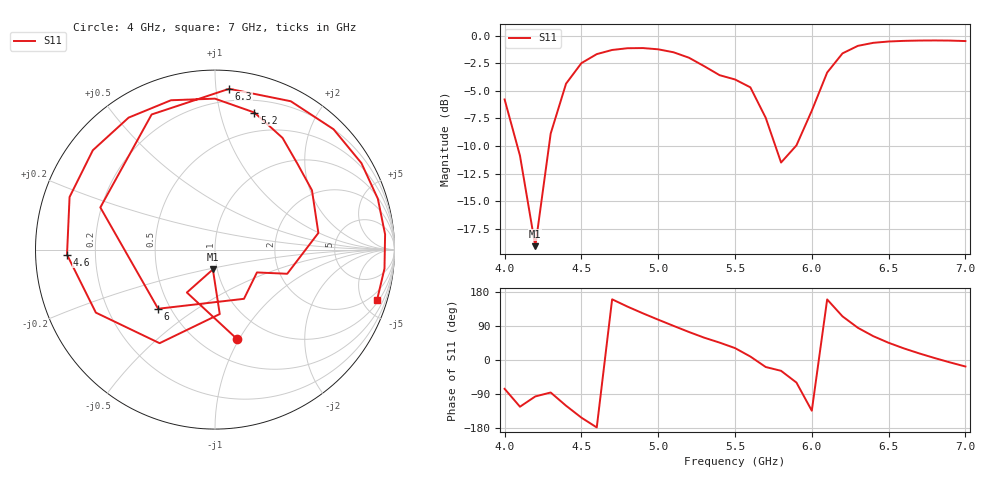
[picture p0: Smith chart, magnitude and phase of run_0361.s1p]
! Touchstone file exported from HFSS 2024.2.0
!  File:  C:/Users/wsak9/Desktop/Sim Fast/Widenad Patch/WP_AI_V1_sweep.aedt
!  Generated:  06:21:50 AM Oct 14, 2026
!  Design:  A1_model
!  Project:  WP_AI_V1_sweep
!  Setup:  Setup1
!  Solution:  Sweep
! Variables:
!  Air_gap = 2.06mm
!  Curve_Amp1 = 3.47
!  Curve_len1 = 1
!  Curve_pos = 12.775mm
!  Extra = 1.14mm
!  H_sub = 0.79mm
!  L_Patch = 21.55mm
!  L_Patch1 = 16.23mm
!  Sx = 0.58mm
!  Sy = 0.3mm
!  WS = 1.01mm
!  W_Patch = 21.28mm
!  W_Patch1 = 15.09mm
!Data is not renormalized
# GHz S MA
! Terminal data exported
! Port[1] = 1
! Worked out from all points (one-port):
!   31 points, 4 GHz to 7 GHz, reference per port
!   lowest |S11| = -19.1 dB at 4.2 GHz (marker M1), VSWR 1.25
!   |S11| at or under -10 dB: 4.083 GHz to 4.289 GHz (206.2 MHz wide, 4.92 % of centre); 5.763 GHz to 5.897 GHz (133.5 MHz wide, 2.29 % of centre)
!   S11 on the Smith chart (normalised r, x): 4 GHz: 0.72, -0.98; 4.6 GHz: 0.10, -0.02; 5.2 GHz: 0.31, +1.28; 6 GHz: 0.43, -0.36; 6.3 GHz: 0.12, +1.09; 7 GHz: 1.22, -6.40
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4  0.514 -76.1
4.1  0.2859 -123.3
4.2  0.1112 -96.1
4.3  0.3601 -85.8
4.4  0.606 -120.6
4.5  0.751 -152.1
4.6  0.825 -178.0
4.7  0.8615 160.1
4.8  0.8773 140.9
4.9  0.8788 123.2
5  0.8675 106.4
5.1  0.841 90.0
5.2  0.7947 73.9
5.3  0.7271 58.8
5.5  0.6333 31.4
5.6  0.5833 9.1
5.7  0.4244 -18.5
5.8  0.2661 -28.6
5.9  0.3182 -59.5
6  0.4572 -133.9
6.1  0.6808 159.8
6.2  0.8315 115.1
6.3  0.8993 85.0
6.4  0.9282 62.9
6.5  0.9411 45.4
6.7  0.9505 17.3
6.8  0.9515 5.1
7  0.9454 -17.2
